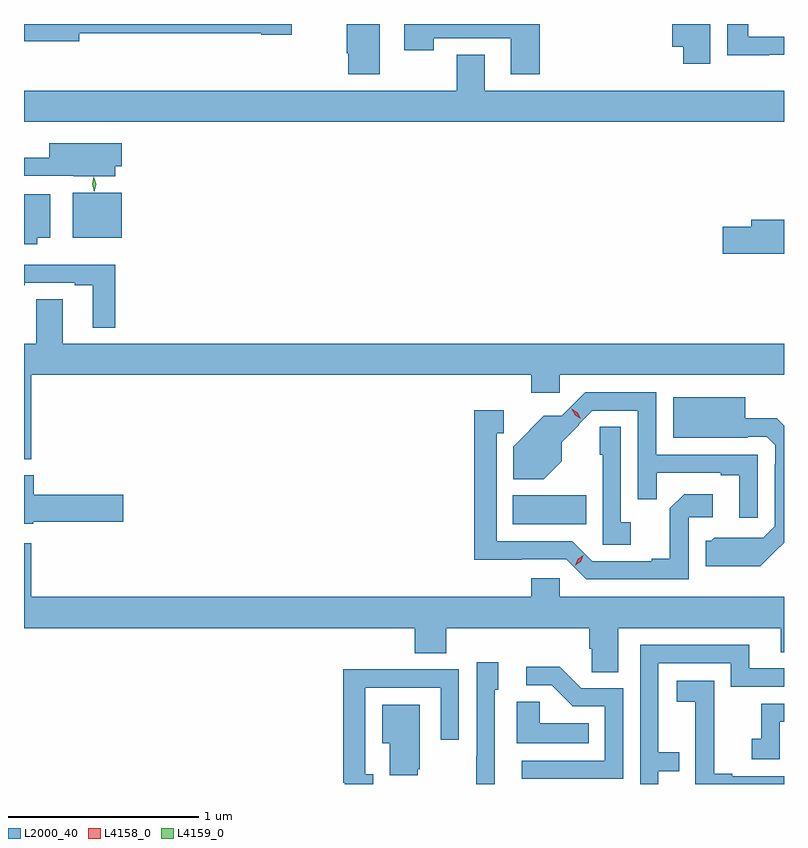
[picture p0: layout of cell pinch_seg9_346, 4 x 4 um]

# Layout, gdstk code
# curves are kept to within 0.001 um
import gdstk
lib = gdstk.Library(unit=1e-6, precision=1e-09)
def R(c, l, rs):  # rectangles x0, y0, x1, y1
    for r in rs: c.add(gdstk.rectangle(r[:2], r[2:], *l))
def P(c, l, *ps):  # polygons
    for p in ps: c.add(gdstk.Polygon(p, *l))
L2000_40 = (2000, 40)
L4158_0 = (4158, 0)
L4159_0 = (4159, 0)

pinch_seg9_346 = lib.new_cell('pinch_seg9_346')
R(pinch_seg9_346, L2000_40, [(553.841,1179.65,554.228,1179.802), (551.525,1181.159,551.782,1181.395)])
P(pinch_seg9_346, L2000_40, [(554.881,1182.283),(554.681,1182.283),(554.681,1182.164),(554.738,1182.164),(554.738,1182.075),(554.881,1182.075)],
  [(553.141,1182.283),(552.967,1182.283),(552.967,1182.13),(552.974,1182.13),(552.974,1182.018),(553.141,1182.018)],
  [(551.56,1182.234),(552.516,1182.234),(552.516,1182.226),(552.678,1182.226),(552.678,1182.283),(551.268,1182.283),(551.268,1182.191),(551.56,1182.191)],
  [(553.982,1182.283),(553.269,1182.283),(553.269,1182.144),(553.425,1182.144),(553.425,1182.207),(553.829,1182.207),(553.829,1182.018),(553.982,1182.018)],
  [(555.191,1182.12),(555.268,1182.12),(555.268,1182.217),(555.079,1182.217),(555.079,1182.283),(554.97,1182.283),(554.97,1182.119),(555.191,1182.119)],
  [(555.268,1181.932),(553.693,1181.932),(553.693,1182.122),(553.546,1182.122),(553.546,1181.932),(551.268,1181.932),(551.268,1181.768),(555.268,1181.768)],
  [(551.749,1181.534),(551.782,1181.534),(551.782,1181.656),(551.402,1181.656),(551.402,1181.58),(551.268,1181.58),(551.268,1181.484),(551.529,1181.484),(551.529,1181.483),(551.749,1181.483)],
  [(551.338,1181.159),(551.407,1181.159),(551.407,1181.386),(551.268,1181.386),(551.268,1181.123),(551.338,1181.123)],
  [(555.268,1181.252),(555.095,1181.252),(555.095,1181.216),(554.946,1181.216),(554.946,1181.074),(555.268,1181.074)],
  [(551.747,1181.017),(551.434,1181.017),(551.434,1181.016),(551.268,1181.016),(551.268,1180.908),(551.272,1180.908),(551.272,1180.92),(551.534,1180.92),(551.534,1180.908),(551.63,1180.908),(551.63,1180.685),(551.747,1180.685)],
  [(551.305,1180.436),(553.937,1180.436),(553.937,1180.343),(554.088,1180.343),(554.088,1180.436),(555.268,1180.436),(555.268,1180.6),(551.473,1180.6),(551.473,1180.835),(551.333,1180.835),(551.333,1180.6),(551.268,1180.6),(551.268,1179.992),(551.305,1179.992)],
  [(555.129,1180.017),(554.595,1180.017),(554.595,1180.344),(554.222,1180.344),(554.099,1180.222),(554.003,1180.222),(553.93,1180.148),(553.932,1180.147),(553.844,1180.059),(553.844,1179.887),(554.003,1179.887),(554.098,1179.982),(554.098,1180.081),(554.19,1180.174),(554.187,1180.176),(554.259,1180.248),(554.499,1180.248),(554.499,1179.782),(554.597,1179.782),(554.597,1179.921),(554.936,1179.921),(554.936,1179.909),(555.032,1179.909),(555.032,1179.684),(555.129,1179.684)],
  [(555.223,1179.509),(555.268,1179.554),(555.268,1180.169),(555.229,1180.208),(555.064,1180.208),(555.064,1180.318),(554.684,1180.318),(554.684,1180.106),(555.077,1180.106),(555.077,1180.11),(555.177,1180.11),(555.222,1180.065),(555.222,1179.965),(555.219,1179.965),(555.219,1179.639),(555.159,1179.579),(554.902,1179.58),(554.886,1179.564),(554.855,1179.564),(554.855,1179.428),(555.143,1179.428)],
  [(554.766,1179.687),(554.893,1179.687),(554.893,1179.808),(554.742,1179.808),(554.667,1179.734),(554.667,1179.469),(554.573,1179.469),(554.573,1179.456),(554.258,1179.456),(554.153,1179.561),(553.756,1179.561),(553.756,1180.128),(553.794,1180.128),(553.794,1180.249),(553.638,1180.249),(553.638,1179.464),(554.121,1179.465),(554.226,1179.36),(554.766,1179.36)],
  [(554.461,1179.66),(554.409,1179.66),(554.409,1180.162),(554.299,1180.162),(554.299,1180.017),(554.313,1180.017),(554.313,1179.541),(554.461,1179.541)],
  [(551.316,1179.664),(551.791,1179.664),(551.791,1179.806),(551.32,1179.806),(551.32,1179.907),(551.268,1179.907),(551.268,1179.653),(551.316,1179.653)],
  [(551.268,1179.55),(551.268,1179.104),(553.325,1179.104),(553.325,1178.971),(553.49,1178.971),(553.49,1179.104),(554.243,1179.104),(554.243,1178.995),(554.256,1178.995),(554.256,1178.872),(554.395,1178.872),(554.395,1179.104),(555.251,1179.104),(555.251,1178.977),(555.268,1178.977),(555.268,1179.268),(554.088,1179.268),(554.088,1179.366),(553.937,1179.366),(553.937,1179.268),(551.305,1179.268),(551.305,1179.55)],
  [(554.607,1178.349),(554.717,1178.349),(554.717,1178.45),(554.607,1178.45),(554.607,1178.919),(554.988,1178.919),(554.988,1178.796),(555.268,1178.796),(555.268,1178.892),(555.085,1178.892),(555.085,1179.015),(554.511,1179.015),(554.511,1178.283),(554.607,1178.283)],
  [(553.746,1178.778),(553.765,1178.778),(553.765,1178.923),(553.65,1178.923),(553.65,1178.429),(553.648,1178.429),(553.648,1178.283),(553.746,1178.283)],
  [(554.421,1178.787),(554.202,1178.787),(554.089,1178.9),(553.911,1178.9),(553.911,1178.802),(554.045,1178.802),(554.156,1178.691),(554.325,1178.691),(554.325,1178.406),(553.887,1178.406),(553.887,1178.31),(554.421,1178.31)],
  [(553.105,1178.334),(553.065,1178.334),(553.065,1178.79),(553.461,1178.79),(553.461,1178.517),(553.557,1178.517),(553.557,1178.886),(553.241,1178.886),(553.241,1178.888),(552.949,1178.888),(552.949,1178.29),(552.957,1178.29),(552.957,1178.283),(553.105,1178.283)],
  [(555.268,1178.325),(554.995,1178.325),(554.995,1178.338),(554.9,1178.338),(554.9,1178.621),(554.901,1178.621),(554.901,1178.827),(554.703,1178.827),(554.703,1178.717),(554.801,1178.717),(554.801,1178.489),(554.802,1178.489),(554.802,1178.283),(555.268,1178.283)],
  [(554.24,1178.602),(553.983,1178.602),(553.983,1178.717),(553.862,1178.717),(553.862,1178.498),(554.24,1178.498)],
  [(555.246,1178.61),(555.268,1178.61),(555.268,1178.706),(555.148,1178.706),(555.148,1178.521),(555.099,1178.521),(555.099,1178.412),(555.246,1178.412)],
  [(553.34,1178.361),(553.351,1178.361),(553.351,1178.701),(553.154,1178.701),(553.154,1178.498),(553.193,1178.498),(553.193,1178.33),(553.34,1178.33)])
P(pinch_seg9_346, L4158_0, [(554.168,1179.434),(554.168,1179.434),(554.182,1179.466),(554.212,1179.486),(554.212,1179.486),(554.212,1179.486),(554.198,1179.453),(554.168,1179.434)],
  [(554.199,1180.205),(554.168,1180.224),(554.151,1180.256),(554.151,1180.257),(554.151,1180.257),(554.182,1180.238),(554.199,1180.205),(554.199,1180.205)])
P(pinch_seg9_346, L4159_0, [(551.638,1181.399),(551.627,1181.439),(551.635,1181.479),(551.636,1181.479),(551.636,1181.479),(551.647,1181.439),(551.639,1181.399),(551.639,1181.399)])

lib.write_gds('pinch_seg9_346.gds')
